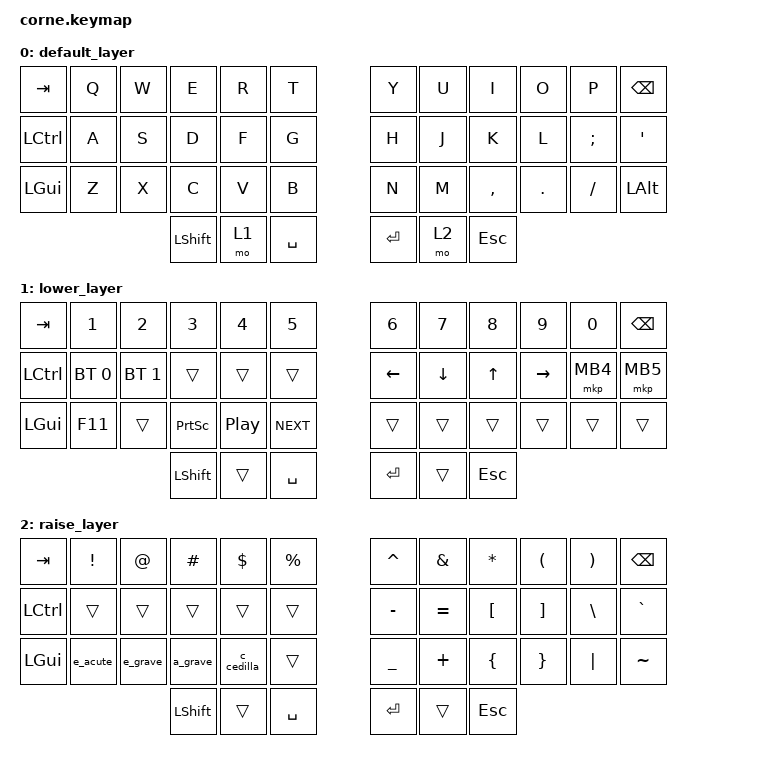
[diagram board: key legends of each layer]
#include <behaviors.dtsi>
#include <dt-bindings/zmk/keys.h>
#include <dt-bindings/zmk/bt.h>
#include <dt-bindings/zmk/pointing.h>

/ {

  macros {
        e_acute: e_acute {
            compatible = "zmk,behavior-macro";
            #binding-cells = <0>;
            bindings
                = <&macro_tap &kp RALT>
                , <&macro_tap &kp SQT>
                , <&macro_tap &kp E>
                ;
        };

        e_grave: e_grave {
            compatible = "zmk,behavior-macro";
            #binding-cells = <0>;
            bindings
                = <&macro_tap &kp RALT>
                , <&macro_tap &kp GRAVE>
                , <&macro_tap &kp E>
                ;
        };

        a_grave: a_grave {
            compatible = "zmk,behavior-macro";
            #binding-cells = <0>;
            bindings
                = <&macro_tap &kp RALT>
                , <&macro_tap &kp GRAVE>
                , <&macro_tap &kp A>
                ;
        };

        c_cedilla: c_cedilla {
            compatible = "zmk,behavior-macro";
            #binding-cells = <0>;
            bindings
                = <&macro_tap &kp RALT>
                , <&macro_tap &kp COMMA>
                , <&macro_tap &kp C>
                ;
        };
    };


        keymap {
                compatible = "zmk,keymap";

                default_layer {
                        bindings = <
// ╭─────────────┬─────────────┬─────────────┬─────────────┬─────────────┬─────────────╮   ╭─────────────┬─────────────┬─────────────┬─────────────┬─────────────┬─────────────╮
     &kp TAB       &kp Q         &kp W         &kp E         &kp R         &kp T             &kp Y         &kp U         &kp I         &kp O         &kp P         &kp BSPC
// ├─────────────┼─────────────┼─────────────┼─────────────┼─────────────┼─────────────┤   ├─────────────┼─────────────┼─────────────┼─────────────┼─────────────┼─────────────┤
     &kp LCTRL     &kp A         &kp S         &kp D         &kp F         &kp G             &kp H         &kp J         &kp K         &kp L         &kp SEMI      &kp SQT
// ├─────────────┼─────────────┼─────────────┼─────────────┼─────────────┼─────────────┤   ├─────────────┼─────────────┼─────────────┼─────────────┼─────────────┼─────────────┤
     &kp LGUI      &kp Z         &kp X         &kp C         &kp V         &kp B             &kp N         &kp M         &kp COMMA     &kp DOT       &kp FSLH      &kp LALT
// ╰─────────────┴─────────────┴─────────────┼─────────────┼─────────────┼─────────────┤   ├─────────────┼─────────────┼─────────────┼─────────────┴─────────────┴─────────────╯
                                               &kp LSHFT     &mo 1         &kp SPACE         &kp RET       &mo 2         &kp ESC
//                                           ╰─────────────┴─────────────┴─────────────╯   ╰─────────────┴─────────────┴─────────────╯
                         >;
                };
                lower_layer {
                        bindings = <
// ╭─────────────┬─────────────┬─────────────┬─────────────┬─────────────┬─────────────╮   ╭─────────────┬─────────────┬─────────────┬─────────────┬─────────────┬─────────────╮
     &kp TAB       &kp N1        &kp N2        &kp N3        &kp N4        &kp N5            &kp N6        &kp N7        &kp N8        &kp N9        &kp N0        &kp BSPC
// ├─────────────┼─────────────┼─────────────┼─────────────┼─────────────┼─────────────┤   ├─────────────┼─────────────┼─────────────┼─────────────┼─────────────┼─────────────┤
     &kp LCTRL     &bt BT_SEL 0  &bt BT_SEL 1  &trans        &trans        &trans            &kp LEFT      &kp DOWN      &kp UP        &kp RIGHT     &mkp MB4      &mkp MB5 
// ├─────────────┼─────────────┼─────────────┼─────────────┼─────────────┼─────────────┤   ├─────────────┼─────────────┼─────────────┼─────────────┼─────────────┼─────────────┤
     &kp LGUI      &kp F11       &trans        &kp PSCRN     &kp C_PP      &kp K_NEXT        &trans        &trans        &trans         &trans        &trans        &trans
// ╰─────────────┴─────────────┴─────────────┼─────────────┼─────────────┼─────────────┤   ├─────────────┼─────────────┼─────────────┼─────────────┴─────────────┴─────────────╯
                                               &kp LSHFT     &trans        &kp SPACE         &kp RET       &trans        &kp ESC
//                                           ╰─────────────┴─────────────┴─────────────╯   ╰─────────────┴─────────────┴─────────────╯
                        >;
                };

                raise_layer {
                        bindings = <
// ╭─────────────┬─────────────┬─────────────┬─────────────┬─────────────┬─────────────╮   ╭─────────────┬─────────────┬─────────────┬─────────────┬─────────────┬─────────────╮
     &kp  TAB      &kp EXCL      &kp AT        &kp HASH      &kp DLLR      &kp PRCNT         &kp CARET     &kp AMPS      &kp STAR      &kp LPAR      &kp RPAR      &kp BSPC
// ├─────────────┼─────────────┼─────────────┼─────────────┼─────────────┼─────────────┤   ├─────────────┼─────────────┼─────────────┼─────────────┼─────────────┼─────────────┤
     &kp LCTRL     &trans        &trans        &trans        &trans        &trans            &kp MINUS     &kp EQUAL     &kp LBKT      &kp RBKT      &kp BSLH      &kp GRAVE
// ├─────────────┼─────────────┼─────────────┼─────────────┼─────────────┼─────────────┤   ├─────────────┼─────────────┼─────────────┼─────────────┼─────────────┼─────────────┤
     &kp LGUI      &e_acute      &e_grave      &a_grave      &c_cedilla    &trans            &kp UNDER     &kp PLUS      &kp LBRC      &kp RBRC      &kp PIPE      &kp TILDE
// ╰─────────────┴─────────────┴─────────────┼─────────────┼─────────────┼─────────────┤   ├─────────────┼─────────────┼─────────────┼─────────────┴─────────────┴─────────────╯
                                               &kp LSHFT     &trans        &kp SPACE         &kp RET       &trans        &kp ESC
//                                           ╰─────────────┴─────────────┴─────────────╯   ╰─────────────┴─────────────┴─────────────╯
                        >;
                };
        };
};
